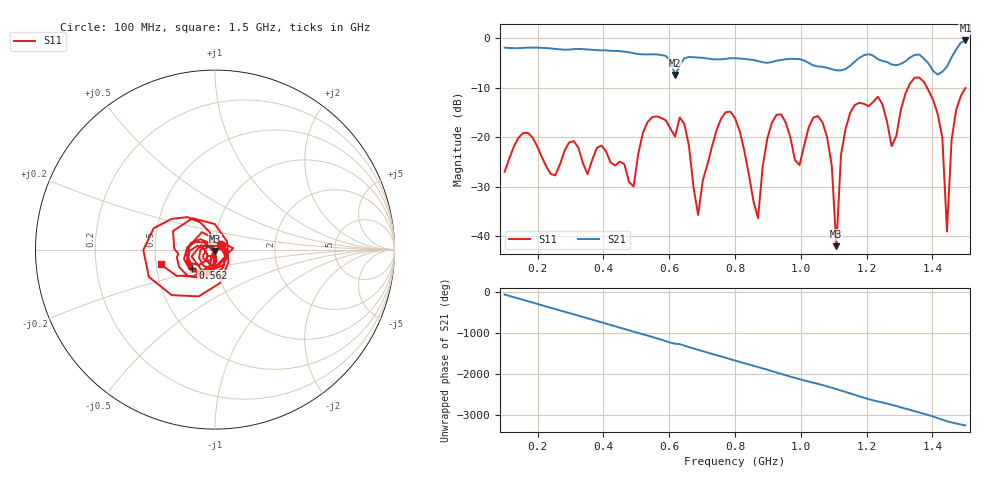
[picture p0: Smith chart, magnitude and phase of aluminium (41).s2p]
! NanoVNA-App
! Date: 2025-09-25 14:55:35
! Start: 100MHz Stop: 1,5GHz Points: 101
! S-Parameter data: F S11 S21 S12 S22
# Hz S RI R 50
!  Frequency  S11_Real  S11_Imag  S21_Real  S21_Imag  S12_Real  S12_Imag  S22_Real  S22_Imag
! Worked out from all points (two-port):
!   101 points, 100 MHz to 1.5 GHz, reference 50 ohm
!   highest |S21| = -0.47 dB at 1.5 GHz (marker M1); lowest = -7.4 dB at 618 MHz (marker M2)
!   |S21| within 3 dB of the highest: start of sweep to 580.8 MHz; 1.462 GHz to end of sweep (the widest 2 of 4)
!   lowest |S11| = -42.0 dB at 1.108 GHz (marker M3), VSWR 1.02, Z = 50 - j0.792 ohm
!   |S11| at or under -10 dB: start of sweep to 1.326 GHz; 1.383 GHz to end of sweep
!   S12 and S22 are empty: the file has one direction only
!   S11 on the Smith chart (normalised r, x): 100 MHz: 1.07, +0.06; 562 MHz: 0.76, -0.16; 1.5 GHz: 0.53, -0.10
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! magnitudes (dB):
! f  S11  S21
! 100 MHz  -27.0  -1.9
! 338 MHz  -25.3  -2.2
! 492 MHz  -30.0  -3.0
! 562 MHz  -15.8  -3.3
! 576 MHz  -16.1  -3.4
! 618 MHz  -19.9  -7.4
! 688 MHz  -35.7  -3.9
! 800 MHz  -16.2  -4.0
! 870 MHz  -36.4  -4.6
! 912 MHz  -17.1  -4.8
! 996 MHz  -25.6  -4.2
! 1.038 GHz  -16.1  -5.5
! 1.08 GHz  -20.1  -6.0
! 1.108 GHz  -42.0  -6.5
! 1.122 GHz  -23.6  -6.5
! 1.15 GHz  -15.1  -5.6
! 1.276 GHz  -21.8  -5.3
! 1.374 GHz  -8.8  -4.1
! 1.43 GHz  -20.1  -6.8
! 1.444 GHz  -39.1  -5.8
! 1.458 GHz  -20.6  -3.9
! 1.5 GHz  -10.1  -0.5
